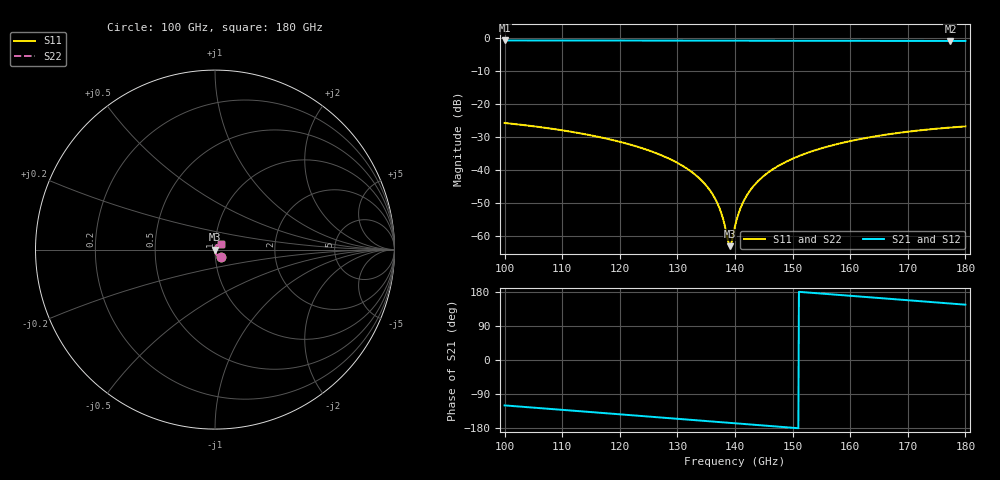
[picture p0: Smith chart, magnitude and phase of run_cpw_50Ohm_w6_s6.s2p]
#  Hz  S  RI  R  50
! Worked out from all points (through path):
!   801 points, 100 GHz to 180 GHz, reference 50 ohm
!   highest |S21| = -0.62 dB at 100 GHz (marker M1); lowest = -0.8 dB at 177.4 GHz (marker M2)
!   group delay of S21, straight-line fit = 3.28 ps
!   lowest |S11| = -63.1 dB at 139.1 GHz (marker M3), VSWR 1.00, Z = 49.9 + j0.00071 ohm
!   |S11| at or under -10 dB: start of sweep to end of sweep
!   |S22| runs from -63.1 to -25.7 dB; largest |S21 - S12| = 0
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1e11  0.0313 -0.0416  -0.4633 -0.8082  -0.4633 -0.8082  0.0313 -0.0416
1.134e11  0.0138 -0.0331  -0.6639 -0.6518  -0.6639 -0.6518  0.0138 -0.0331
1.208e11  0.00632 -0.025  -0.7547 -0.5419  -0.7547 -0.5419  0.00632 -0.025
1.267e11  0.00219 -0.0174  -0.8137 -0.4451  -0.8137 -0.4451  0.00219 -0.0174
1.317e11  5.99e-05 -0.0105  -0.8538 -0.3584  -0.8538 -0.3584  5.99e-05 -0.0105
1.352e11  -0.000656 -0.00553  -0.8765 -0.2957  -0.8765 -0.2957  -0.000656 -0.00553
1.363e11  -0.000749 -0.00396  -0.8826 -0.2757  -0.8826 -0.2757  -0.000749 -0.00396
1.372e11  -0.000778 -0.00268  -0.8874 -0.2592  -0.8874 -0.2592  -0.000778 -0.00268
1.379e11  -0.000771 -0.00169  -0.8908 -0.2464  -0.8908 -0.2464  -0.000771 -0.00169
1.388e11  -0.000725 -0.000416  -0.895 -0.2298  -0.895 -0.2298  -0.000725 -0.000416
1.391e11  -0.000701 7.11e-06  -0.8964 -0.2242  -0.8964 -0.2242  -0.000701 7.11e-06
1.394e11  -0.000671 0.00043  -0.8977 -0.2187  -0.8977 -0.2187  -0.000671 0.00043
1.4e11  -0.000599 0.00127  -0.9001 -0.2076  -0.9001 -0.2076  -0.000599 0.00127
1.407e11  -0.00049 0.00225  -0.9029 -0.1946  -0.9029 -0.1946  -0.00049 0.00225
1.416e11  -0.000314 0.00351  -0.9061 -0.1778  -0.9061 -0.1778  -0.000314 0.00351
1.441e11  0.000394 0.00693  -0.9135 -0.1309  -0.9135 -0.1309  0.000394 0.00693
1.48e11  0.00213 0.0121  -0.9203 -0.0572  -0.9203 -0.0572  0.00213 0.0121
1.534e11  0.00573 0.0185  -0.92 0.0453  -0.92 0.0453  0.00573 0.0185
1.594e11  0.0112 0.0245  -0.906 0.1585  -0.906 0.1585  0.0112 0.0245
1.667e11  0.0193 0.0293  -0.8699 0.2918  -0.8699 0.2918  0.0193 0.0293
1.774e11  0.0316 0.0312  -0.784 0.4712  -0.784 0.4712  0.0316 0.0312
1.8e11  0.0343 0.0309  -0.7585 0.5119  -0.7585 0.5119  0.0343 0.0309
